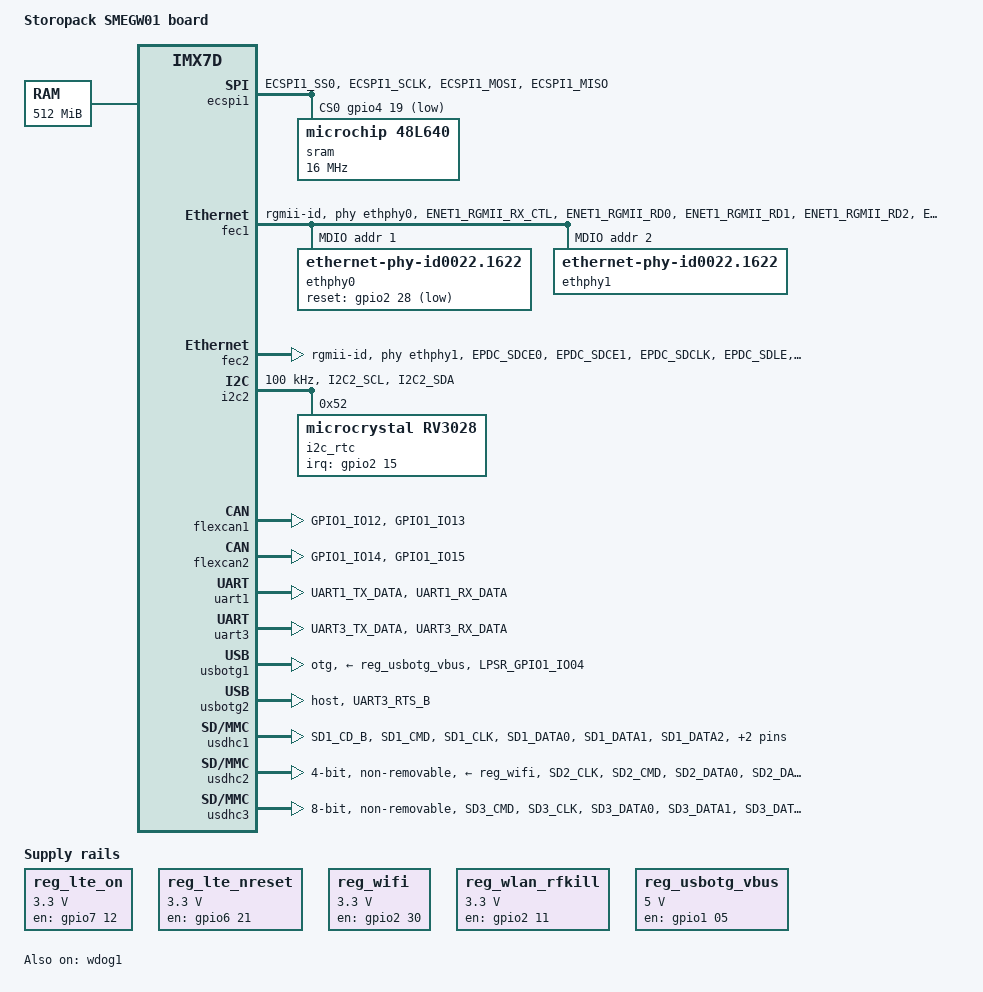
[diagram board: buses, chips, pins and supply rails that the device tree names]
// SPDX-License-Identifier: (GPL-2.0+ OR MIT)
//
// Copyright (C) 2020 PHYTEC Messtechnik GmbH
// Author: Jens Lang  <J.Lang@phytec.de>
// Copyright (C) 2021 Fabio Estevam <festevam@denx.de>

/dts-v1/;
#include <dt-bindings/gpio/gpio.h>
#include "imx7d.dtsi"

/ {
	model = "Storopack SMEGW01 board";
	compatible = "storopack,imx7d-smegw01", "fsl,imx7d";

	aliases {
		mmc0 = &usdhc1;
		mmc1 = &usdhc3;
		mmc2 = &usdhc2;
		rtc0 = &i2c_rtc;
		rtc1 = &snvs_rtc;
	};

	chosen {
		stdout-path = &uart1;
	};

	memory@80000000 {
		device_type = "memory";
		reg = <0x80000000 0x20000000>;
	};

	reg_lte_on: regulator-lte-on {
		compatible = "regulator-fixed";
		pinctrl-names = "default";
		pinctrl-0 = <&pinctrl_lte_on>;
		regulator-min-microvolt = <3300000>;
		regulator-max-microvolt = <3300000>;
		regulator-name = "lte_on";
		gpio = <&gpio7 12 GPIO_ACTIVE_HIGH>;
		enable-active-high;
		regulator-always-on;
	};

	reg_lte_nreset: regulator-lte-nreset {
		compatible = "regulator-fixed";
		pinctrl-names = "default";
		pinctrl-0 = <&pinctrl_lte_nreset>;
		regulator-min-microvolt = <3300000>;
		regulator-max-microvolt = <3300000>;
		regulator-name = "LTE_nReset";
		gpio = <&gpio6 21 GPIO_ACTIVE_HIGH>;
		enable-active-high;
		regulator-always-on;
	};

	reg_wifi: regulator-wifi {
		compatible = "regulator-fixed";
		gpio = <&gpio2 30 GPIO_ACTIVE_HIGH>;
		enable-active-high;
		pinctrl-names = "default";
		pinctrl-0 = <&pinctrl_wifi>;
		regulator-name = "wifi_reg";
		regulator-min-microvolt = <3300000>;
		regulator-max-microvolt = <3300000>;
	};

	reg_wlan_rfkill: regulator-wlan-rfkill {
		compatible = "regulator-fixed";
		pinctrl-names = "default";
		pinctrl-2 = <&pinctrl_rfkill>;
		regulator-min-microvolt = <3300000>;
		regulator-max-microvolt = <3300000>;
		regulator-name = "wlan_rfkill";
		gpio = <&gpio2 11 GPIO_ACTIVE_HIGH>;
		enable-active-high;
		regulator-always-on;
	};

	reg_usbotg_vbus: regulator-usbotg-vbus {
		compatible = "regulator-fixed";
		pinctrl-names = "default";
		pinctrl-0 = <&pinctrl_usbotg1_pwr_gpio>;
		regulator-name = "usb_otg_vbus";
		regulator-min-microvolt = <5000000>;
		regulator-max-microvolt = <5000000>;
		gpio = <&gpio1 05 GPIO_ACTIVE_HIGH>;
		enable-active-high;
	};
};

&ecspi1 {
	pinctrl-names = "default";
	pinctrl-0 = <&pinctrl_ecspi1>;
	cs-gpios = <&gpio4 19 GPIO_ACTIVE_LOW>;
	status = "okay";

	sram@0 {
		compatible = "microchip,48l640";
		reg = <0>;
		#address-cells = <1>;
		#size-cells = <1>;
		spi-max-frequency = <16000000>;
	};
};

&fec1 {
	pinctrl-names = "default";
	pinctrl-0 = <&pinctrl_enet1>;
	assigned-clocks = <&clks IMX7D_ENET1_TIME_ROOT_SRC>,
			  <&clks IMX7D_ENET1_TIME_ROOT_CLK>;
	assigned-clock-parents = <&clks IMX7D_PLL_ENET_MAIN_100M_CLK>;
	assigned-clock-rates = <0>, <100000000>;
	phy-mode = "rgmii-id";
	phy-handle = <&ethphy0>;
	fsl,magic-packet;
	status = "okay";

	mdio: mdio {
		#address-cells = <1>;
		#size-cells = <0>;

		ethphy0: ethernet-phy@1 {
			compatible = "ethernet-phy-id0022.1622",
				     "ethernet-phy-ieee802.3-c22";
			reg = <1>;
			reset-gpios = <&gpio2 28 GPIO_ACTIVE_LOW>;
		};

		ethphy1: ethernet-phy@2 {
			compatible = "ethernet-phy-id0022.1622",
				     "ethernet-phy-ieee802.3-c22";
			reg = <2>;
		};
	};
};

&fec2 {
	pinctrl-names = "default";
	pinctrl-0 = <&pinctrl_enet2>;
	assigned-clocks = <&clks IMX7D_ENET2_TIME_ROOT_SRC>,
			  <&clks IMX7D_ENET2_TIME_ROOT_CLK>;
	assigned-clock-parents = <&clks IMX7D_PLL_ENET_MAIN_100M_CLK>;
	assigned-clock-rates = <0>, <100000000>;
	phy-mode = "rgmii-id";
	phy-handle = <&ethphy1>;
	fsl,magic-packet;
	status = "okay";
};

&i2c2 {
	pinctrl-names = "default";
	pinctrl-0 =<&pinctrl_i2c2>;
	clock-frequency = <100000>;
	status = "okay";

	i2c_rtc: rtc@52 {
		compatible = "microcrystal,rv3028";
		pinctrl-names = "default";
		pinctrl-0 = <&pinctrl_rtc_int>;
		reg = <0x52>;
		interrupt-parent = <&gpio2>;
		interrupts = <15 IRQ_TYPE_LEVEL_LOW>;
	};
};

&flexcan1 {
	pinctrl-names = "default";
	pinctrl-0 = <&pinctrl_flexcan1>;
	status = "okay";
};

&flexcan2 {
	pinctrl-names = "default";
	pinctrl-0 = <&pinctrl_flexcan2>;
	status = "okay";
};

&uart1 {
	pinctrl-names = "default";
	pinctrl-0 = <&pinctrl_uart1>;
	status = "okay";
};

&uart3 {
	pinctrl-names = "default";
	pinctrl-0 = <&pinctrl_uart3>;
	status = "okay";
};

&usbotg1 {
	pinctrl-names = "default";
	pinctrl-0 = <&pinctrl_usbotg1_lpsr>;
	dr_mode = "otg";
	vbus-supply = <&reg_usbotg_vbus>;
	status = "okay";
};

&usbotg2 {
	pinctrl-names = "default";
	pinctrl-0 = <&pinctrl_usbotg2>;
	dr_mode = "host";
	status = "okay";
};

&usdhc1 {
	pinctrl-names = "default";
	pinctrl-0 = <&pinctrl_usdhc1>;
	cd-gpios = <&gpio5 0 GPIO_ACTIVE_LOW>;
	no-1-8-v;
	enable-sdio-wakeup;
	keep-power-in-suspend;
	status = "okay";
};

&usdhc2 {
	pinctrl-names = "default";
	pinctrl-0 = <&pinctrl_usdhc2>;
	bus-width = <4>;
	no-1-8-v;
	non-removable;
	vmmc-supply = <&reg_wifi>;
	enable-sdio-wakeup;
	status = "okay";
};

&usdhc3 {
	pinctrl-names = "default", "state_100mhz", "state_200mhz";
	pinctrl-0 = <&pinctrl_usdhc3>;
	pinctrl-1 = <&pinctrl_usdhc3_100mhz>;
	pinctrl-2 = <&pinctrl_usdhc3_200mhz>;
	assigned-clocks = <&clks IMX7D_USDHC3_ROOT_CLK>;
	assigned-clock-rates = <400000000>;
	max-frequency = <200000000>;
	bus-width = <8>;
	fsl,tuning-step = <1>;
	non-removable;
	cap-mmc-highspeed;
	cap-mmc-hw-reset;
	mmc-hs200-1_8v;
	mmc-ddr-1_8v;
	status = "okay";
};

&wdog1 {
	pinctrl-names = "default";
	pinctrl-0 = <&pinctrl_wdog>;
	fsl,ext-reset-output;
	status = "okay";
};

&iomuxc {
	pinctrl_ecspi1: ecspi1grp {
		fsl,pins = <
			MX7D_PAD_ECSPI1_SS0__GPIO4_IO19	0x04
			MX7D_PAD_ECSPI1_SCLK__ECSPI1_SCLK	0x04
			MX7D_PAD_ECSPI1_MOSI__ECSPI1_MOSI	0x04
			MX7D_PAD_ECSPI1_MISO__ECSPI1_MISO	0x04
		>;
	};

	pinctrl_enet1: enet1grp {
		fsl,pins = <
			MX7D_PAD_ENET1_RGMII_RX_CTL__ENET1_RGMII_RX_CTL 0x5
			MX7D_PAD_ENET1_RGMII_RD0__ENET1_RGMII_RD0	0x5
			MX7D_PAD_ENET1_RGMII_RD1__ENET1_RGMII_RD1	0x5
			MX7D_PAD_ENET1_RGMII_RD2__ENET1_RGMII_RD2	0x5
			MX7D_PAD_ENET1_RGMII_RD3__ENET1_RGMII_RD3	0x5
			MX7D_PAD_ENET1_RGMII_RXC__ENET1_RGMII_RXC	0x5
			MX7D_PAD_ENET1_RGMII_TX_CTL__ENET1_RGMII_TX_CTL 0x5
			MX7D_PAD_ENET1_RGMII_TD0__ENET1_RGMII_TD0	0x5
			MX7D_PAD_ENET1_RGMII_TD1__ENET1_RGMII_TD1	0x5
			MX7D_PAD_ENET1_RGMII_TD2__ENET1_RGMII_TD2	0x5
			MX7D_PAD_ENET1_RGMII_TD3__ENET1_RGMII_TD3	0x5
			MX7D_PAD_ENET1_RGMII_TXC__ENET1_RGMII_TXC	0x5
			MX7D_PAD_GPIO1_IO10__ENET1_MDIO		0x7
			MX7D_PAD_GPIO1_IO11__ENET1_MDC		0x7
		>;
	};

	pinctrl_enet2: enet2grp {
		fsl,pins = <
			MX7D_PAD_EPDC_SDCE0__ENET2_RGMII_RX_CTL 0x5
			MX7D_PAD_EPDC_SDCE1__ENET2_RGMII_RXC	0x5
			MX7D_PAD_EPDC_SDCLK__ENET2_RGMII_RD0	0x5
			MX7D_PAD_EPDC_SDLE__ENET2_RGMII_RD1	0x5
			MX7D_PAD_EPDC_SDOE__ENET2_RGMII_RD2	0x5
			MX7D_PAD_EPDC_SDSHR__ENET2_RGMII_RD3	0x5
			MX7D_PAD_EPDC_SDCE2__ENET2_RGMII_TD0	0x5
			MX7D_PAD_EPDC_SDCE3__ENET2_RGMII_TD1	0x5
			MX7D_PAD_EPDC_GDCLK__ENET2_RGMII_TD2	0x5
			MX7D_PAD_EPDC_GDOE__ENET2_RGMII_TD3	0x5
			MX7D_PAD_EPDC_GDRL__ENET2_RGMII_TX_CTL 0x5
			MX7D_PAD_EPDC_GDSP__ENET2_RGMII_TXC	0x5
			MX7D_PAD_GPIO1_IO09__GPIO1_IO9	0x08
		>;
	};

	pinctrl_i2c2: i2c2grp {
		fsl,pins = <
			MX7D_PAD_I2C2_SCL__I2C2_SCL		0x40000004
			MX7D_PAD_I2C2_SDA__I2C2_SDA		0x40000004
		>;
	};

	pinctrl_flexcan1: flexcan1grp {
		fsl,pins = <
			MX7D_PAD_GPIO1_IO12__FLEXCAN1_RX	0x0b0b0
			MX7D_PAD_GPIO1_IO13__FLEXCAN1_TX	0x0b0b0
		>;
	};

	pinctrl_flexcan2: flexcan2grp {
		fsl,pins = <
			MX7D_PAD_GPIO1_IO14__FLEXCAN2_RX	0x0b0b0
			MX7D_PAD_GPIO1_IO15__FLEXCAN2_TX	0x0b0b0
		>;
	};

	pinctrl_lte_on: lteongrp {
		fsl,pins = <
			MX7D_PAD_ENET1_TX_CLK__GPIO7_IO12	0x17059
		>;
	};

	pinctrl_lte_nreset: ltenresetgrp {
		fsl,pins = <
			MX7D_PAD_SAI2_RX_DATA__GPIO6_IO21	0x17059
		>;
	};

	pinctrl_rfkill: rfkillrp {
		fsl,pins = <
			MX7D_PAD_EPDC_DATA11__GPIO2_IO11	0x17059
		>;
	};

	pinctrl_rtc_int: rtcintgrp {
		fsl,pins = <
			MX7D_PAD_EPDC_DATA15__GPIO2_IO15	0x17059
		>;
	};

	pinctrl_uart1: uart1grp {
		fsl,pins = <
			MX7D_PAD_UART1_TX_DATA__UART1_DCE_TX	0x74
			MX7D_PAD_UART1_RX_DATA__UART1_DCE_RX	0x7c
		>;
	};

	pinctrl_uart3: uart3grp {
		fsl,pins = <
			MX7D_PAD_UART3_TX_DATA__UART3_DCE_TX	0x7c
			MX7D_PAD_UART3_RX_DATA__UART3_DCE_RX	0x74
		>;
	};

	pinctrl_usbotg1_lpsr: usbotg1 {
		fsl,pins = <
			MX7D_PAD_LPSR_GPIO1_IO04__USB_OTG1_OC	0x04
		>;
	};

	pinctrl_usbotg1_pwr: usbotg1-pwr {
		fsl,pins = <
			MX7D_PAD_LPSR_GPIO1_IO05__USB_OTG1_PWR	0x04
		>;
	};

	pinctrl_usbotg1_pwr_gpio: usbotg1-pwr-gpio {
		fsl,pins = <
			MX7D_PAD_LPSR_GPIO1_IO05__GPIO1_IO5	0x04
		>;
	};

	pinctrl_usbotg2: usbotg2grp {
		fsl,pins = <
			MX7D_PAD_UART3_RTS_B__USB_OTG2_OC	0x04
		>;
	};

	pinctrl_usdhc1: usdhc1grp {
		fsl,pins = <
			MX7D_PAD_SD1_CD_B__GPIO5_IO0		0x59
			MX7D_PAD_SD1_CMD__SD1_CMD		0x59
			MX7D_PAD_SD1_CLK__SD1_CLK		0x19
			MX7D_PAD_SD1_DATA0__SD1_DATA0		0x59
			MX7D_PAD_SD1_DATA1__SD1_DATA1		0x59
			MX7D_PAD_SD1_DATA2__SD1_DATA2		0x59
			MX7D_PAD_SD1_DATA3__SD1_DATA3		0x59
		>;
	};

	pinctrl_usdhc2: usdhc2grp {
		fsl,pins = <
			MX7D_PAD_SD2_CLK__SD2_CLK		0x19
			MX7D_PAD_SD2_CMD__SD2_CMD		0x59
			MX7D_PAD_SD2_DATA0__SD2_DATA0		0x59
			MX7D_PAD_SD2_DATA1__SD2_DATA1		0x59
			MX7D_PAD_SD2_DATA2__SD2_DATA2		0x59
			MX7D_PAD_SD2_DATA3__SD2_DATA3		0x59
			MX7D_PAD_SD2_CD_B__SD2_CD_B		0x08
		>;
	};

	pinctrl_usdhc3: usdhc3grp {
		fsl,pins = <
			MX7D_PAD_SD3_CMD__SD3_CMD		0x5d
			MX7D_PAD_SD3_CLK__SD3_CLK		0x1d
			MX7D_PAD_SD3_DATA0__SD3_DATA0		0x5d
			MX7D_PAD_SD3_DATA1__SD3_DATA1		0x5d
			MX7D_PAD_SD3_DATA2__SD3_DATA2		0x5d
			MX7D_PAD_SD3_DATA3__SD3_DATA3		0x5d
			MX7D_PAD_SD3_DATA4__SD3_DATA4		0x5d
			MX7D_PAD_SD3_DATA5__SD3_DATA5		0x5d
			MX7D_PAD_SD3_DATA6__SD3_DATA6		0x5d
			MX7D_PAD_SD3_DATA7__SD3_DATA7		0x5d
			MX7D_PAD_SD3_STROBE__SD3_STROBE	0x1d
		>;
	};

	pinctrl_usdhc3_100mhz: usdhc3-100mhzgrp {
		fsl,pins = <
			MX7D_PAD_SD3_CMD__SD3_CMD		0x5e
			MX7D_PAD_SD3_CLK__SD3_CLK		0x1e
			MX7D_PAD_SD3_DATA0__SD3_DATA0		0x5e
			MX7D_PAD_SD3_DATA1__SD3_DATA1		0x5e
			MX7D_PAD_SD3_DATA2__SD3_DATA2		0x5e
			MX7D_PAD_SD3_DATA3__SD3_DATA3		0x5e
			MX7D_PAD_SD3_DATA4__SD3_DATA4		0x5e
			MX7D_PAD_SD3_DATA5__SD3_DATA5		0x5e
			MX7D_PAD_SD3_DATA6__SD3_DATA6		0x5e
			MX7D_PAD_SD3_DATA7__SD3_DATA7		0x5e
			MX7D_PAD_SD3_STROBE__SD3_STROBE	0x1e
		>;
	};

	pinctrl_usdhc3_200mhz: usdhc3-200mhzgrp {
		fsl,pins = <
			MX7D_PAD_SD3_CMD__SD3_CMD		0x5f
			MX7D_PAD_SD3_CLK__SD3_CLK		0x0f
			MX7D_PAD_SD3_DATA0__SD3_DATA0		0x5f
			MX7D_PAD_SD3_DATA1__SD3_DATA1		0x5f
			MX7D_PAD_SD3_DATA2__SD3_DATA2		0x5f
			MX7D_PAD_SD3_DATA3__SD3_DATA3		0x5f
			MX7D_PAD_SD3_DATA4__SD3_DATA4		0x5f
			MX7D_PAD_SD3_DATA5__SD3_DATA5		0x5f
			MX7D_PAD_SD3_DATA6__SD3_DATA6		0x5f
			MX7D_PAD_SD3_DATA7__SD3_DATA7		0x5f
			MX7D_PAD_SD3_STROBE__SD3_STROBE	0x1f
		>;
	};

	pinctrl_wifi: wifigrp {
		fsl,pins = <
			MX7D_PAD_EPDC_PWR_COM__GPIO2_IO30	0x04
			MX7D_PAD_SD2_RESET_B__GPIO5_IO11	0x04
		>;
	};
};

&iomuxc_lpsr {
	pinctrl_wdog: wdoggrp {
		fsl,pins = <
			MX7D_PAD_LPSR_GPIO1_IO00__WDOG1_WDOG_B 0x74
		>;
	};
};
